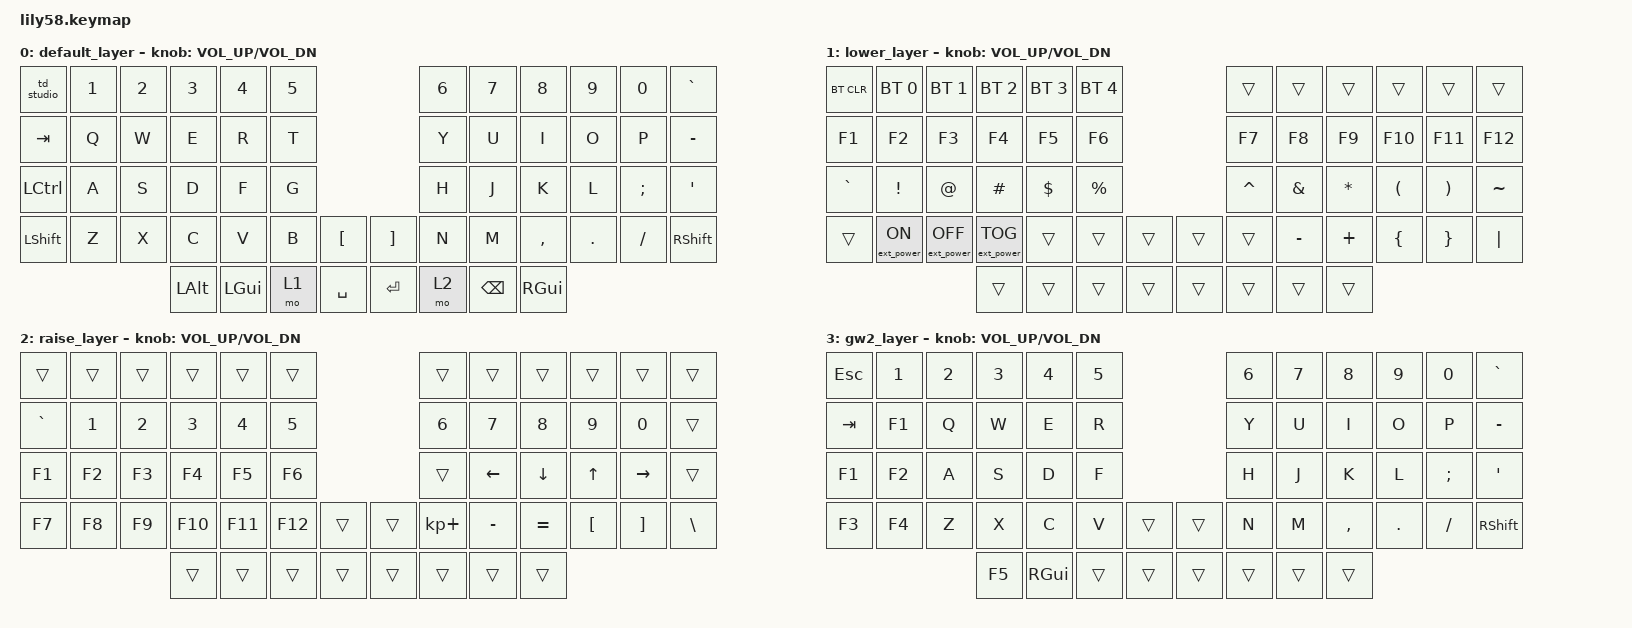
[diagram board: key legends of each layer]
/*
 * Copyright (c) 2020 The ZMK Contributors
 *
 * SPDX-License-Identifier: MIT
 */

#include <behaviors.dtsi>
#include <dt-bindings/zmk/keys.h>
#include <dt-bindings/zmk/bt.h>
#include <dt-bindings/zmk/ext_power.h>

/ {
    behaviors {
        td_studio: tap_dance_studio {
            compatible = "zmk,behavior-tap-dance";
            #binding-cells = <0>;
            tapping-term-ms = <300>;
            bindings = <&kp ESC>, <&studio_unlock>;
        };
    };

    keymap {
        compatible = "zmk,keymap";

        default_layer {
// ------------------------------------------------------------------------------------------------------------
// |  ESC  |  1  |  2  |  3   |  4   |  5   |                   |  6   |  7    |  8    |  9   |   0   |   `   |
// |  TAB  |  Q  |  W  |  E   |  R   |  T   |                   |  Y   |  U    |  I    |  O   |   P   |   -   |
// | SHIFT |  A  |  S  |  D   |  F   |  G   |                   |  H   |  J    |  K    |  L   |   ;   |   '   |
// |  CTRL |  Z  |  X  |  C   |  V   |  B   |   "["  |  |  "]"  |  N   |  M    |  ,    |  .   |   /   | SHIFT |
//                     | ALT  | GUI  | LOWER|  SPACE |  | ENTER | RAISE| BSPC  | GUI   |
            bindings = <
&td_studio &kp N1 &kp N2 &kp N3   &kp N4   &kp N5                     &kp N6 &kp N7   &kp N8    &kp N9  &kp N0   &kp GRAVE
&kp TAB   &kp Q  &kp W  &kp E    &kp R    &kp T                      &kp Y  &kp U    &kp I     &kp O   &kp P    &kp MINUS
&kp LCTRL &kp A  &kp S  &kp D    &kp F    &kp G                      &kp H  &kp J    &kp K     &kp L   &kp SEMI &kp SQT
&kp LSHFT &kp Z  &kp X  &kp C    &kp V    &kp B  &kp LBKT   &kp RBKT &kp N  &kp M    &kp COMMA &kp DOT &kp FSLH &kp RSHFT
                        &kp LALT &kp LGUI &mo 1  &kp SPACE  &kp RET  &mo 2  &kp BSPC &kp RGUI
            >;

            sensor-bindings = <&inc_dec_kp C_VOL_UP C_VOL_DN>;
        };

        lower_layer {
// ------------------------------------------------------------------------------------------------------------
// | BTCLR | BT1 | BT2 |  BT3 |  BT4 |  BT5 |                   |      |       |       |      |       |       |
// |  F1   |  F2 |  F3 |  F4  |  F5  |  F6  |                   |  F7  |  F8   |  F9   |  F10 |  F11  |  F12  |
// |   `   |  !  |  @  |  #   |  $   |  %   |                   |  ^   |  &    |  *    |  (   |   )   |   ~   |
// |       |     |     |      |      |      |        |  |       |      |  _    |  +    |  {   |   }   |  "|"  |
//                     |      |      |      |        |  |       |      |       |       |
            bindings = <
&bt BT_CLR &bt BT_SEL 0     &bt BT_SEL 1      &bt BT_SEL 2      &bt BT_SEL 3 &bt BT_SEL 4                 &trans    &trans    &trans    &trans    &trans    &trans
&kp F1     &kp F2           &kp F3            &kp F4            &kp F5       &kp F6                       &kp F7    &kp F8    &kp F9    &kp F10   &kp F11   &kp F12
&kp GRAVE  &kp EXCL         &kp AT            &kp HASH          &kp DOLLAR   &kp PRCNT                    &kp CARET &kp AMPS  &kp ASTRK &kp LPAR  &kp RPAR  &kp TILDE
&trans     &ext_power EP_ON &ext_power EP_OFF &ext_power EP_TOG &trans       &trans    &trans   &trans    &trans    &kp MINUS &kp PLUS  &kp LBRC  &kp RBRC  &kp PIPE
                                              &trans            &trans       &trans    &trans   &trans    &trans    &trans    &trans
            >;

            sensor-bindings = <&inc_dec_kp C_VOL_UP C_VOL_DN>;
        };

        raise_layer {
// ------------------------------------------------------------------------------------------------------------
// |       |     |     |      |      |      |                   |      |       |       |      |       |       |
// |   `   |  1  |  2  |  3   |  4   |  5   |                   |  6   |   7   |   8   |  9   |   0   |       |
// |   F1  |  F2 |  F3 |  F4  |  F5  |  F6  |                   |      |   <-  |   v   |  ^   |  ->   |       |
// |   F7  |  F8 |  F9 |  F10 |  F11 |  F12 |        |  |       |  +   |   -   |   =   |  [   |   ]   |   \   |
//                     |      |      |      |        |  |       |      |       |       |
            bindings = <
&trans    &trans &trans &trans  &trans  &trans                       &trans      &trans    &trans    &trans   &trans    &trans
&kp GRAVE &kp N1 &kp N2 &kp N3  &kp N4  &kp N5                       &kp N6      &kp N7    &kp N8    &kp N9   &kp N0    &trans
&kp F1    &kp F2 &kp F3 &kp F4  &kp F5  &kp F6                       &trans      &kp LEFT  &kp DOWN  &kp UP   &kp RIGHT &trans
&kp F7    &kp F8 &kp F9 &kp F10 &kp F11 &kp F12   &trans   &trans    &kp KP_PLUS &kp MINUS &kp EQUAL &kp LBKT &kp RBKT  &kp BSLH
                        &trans  &trans  &trans    &trans   &trans    &trans      &trans    &trans
            >;

            sensor-bindings = <&inc_dec_kp C_VOL_UP C_VOL_DN>;
        };

        gw2_layer {
// ------------------------------------------------------------------------------------------------------------
// |  ESC  |  1  |  2  |  3   |  4   |  5   |                   |  6   |  7    |  8    |  9   |   0   |   `   |
// |  TAB  | F1  |  Q  |  W   |  E   |  R   |                   |  Y   |  U    |  I    |  O   |   P   |   -   |
// |  F1   | F2  |  A  |  S   |  D   |  F   |                   |  H   |  J    |  K    |  L   |   ;   |   '   |
// |  F3   | F4  |  Z  |  X   |  C   |  V   |        |  |       |  N   |  M    |  ,    |  .   |   /   | SHIFT |
//                     | F5   | GUI  |      |        |  |       |      |       |       |
            bindings = <
&kp ESC   &kp N1 &kp N2 &kp N3   &kp N4   &kp N5                     &kp N6 &kp N7   &kp N8    &kp N9  &kp N0   &kp GRAVE
&kp TAB   &kp F1 &kp Q  &kp W    &kp E    &kp R                      &kp Y  &kp U    &kp I     &kp O   &kp P    &kp MINUS
&kp F1    &kp F2 &kp A  &kp S    &kp D    &kp F                      &kp H  &kp J    &kp K     &kp L   &kp SEMI &kp SQT
&kp F3    &kp F4 &kp Z  &kp X    &kp C    &kp V  &trans    &trans    &kp N  &kp M    &kp COMMA &kp DOT &kp FSLH &kp RSHFT
                        &kp F5   &kp RGUI &trans &trans    &trans    &trans &trans   &trans
            >;

            sensor-bindings = <&inc_dec_kp C_VOL_UP C_VOL_DN>;
        };
    };
};
